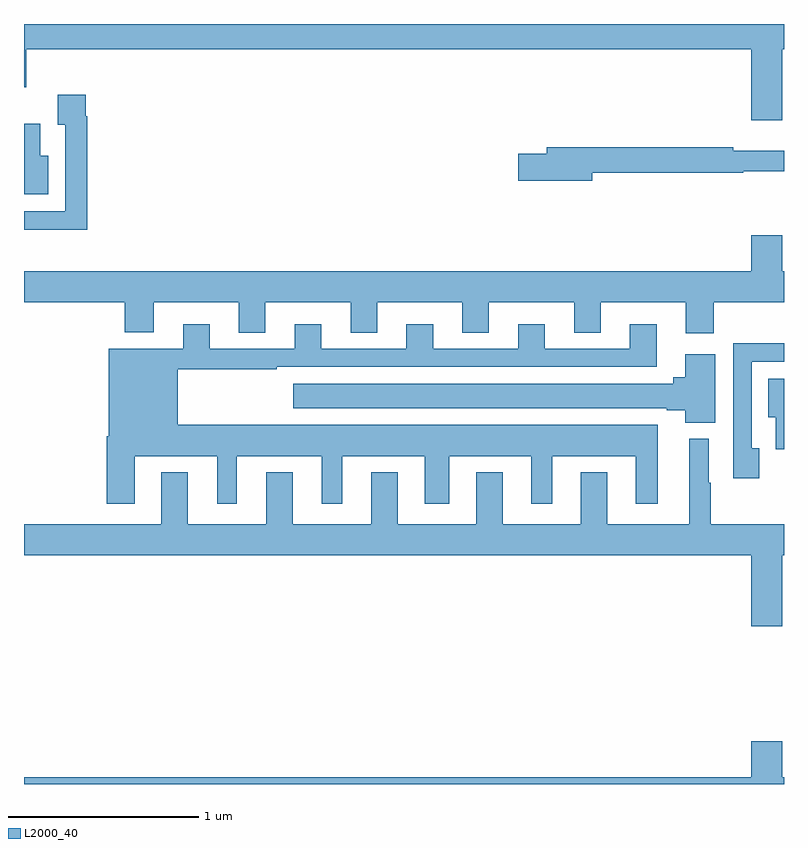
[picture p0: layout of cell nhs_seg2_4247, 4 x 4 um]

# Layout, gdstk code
import gdstk
lib = gdstk.Library(unit=1e-6, precision=1e-09)
def P(c, l, *ps):  # polygons
    for p in ps: c.add(gdstk.Polygon(p, *l))
L2000_40 = (2000, 40)

nhs_seg2_4247 = lib.new_cell('nhs_seg2_4247')
P(nhs_seg2_4247, L2000_40, [(344.992,615.668),(345,615.668),(345,615.8),(341,615.8),(341,615.466),(341.012,615.466),(341.012,615.668),(344.828,615.668),(344.828,615.294),(344.992,615.294)],
  [(341.333,615.314),(341.326,615.314),(341.326,615.427),(341.177,615.427),(341.177,615.271),(341.217,615.271),(341.217,614.814),(341,614.814),(341,614.718),(341.041,614.718),(341.041,614.717),(341.333,614.717)],
  [(341.128,615.106),(341.086,615.106),(341.086,615.274),(341,615.274),(341,614.903),(341.128,614.903)],
  [(343.99,615.016),(344.786,615.016),(344.786,615.024),(345,615.024),(345,615.133),(344.732,615.133),(344.732,615.152),(343.751,615.152),(343.751,615.116),(343.602,615.116),(343.602,614.974),(343.99,614.974)],
  [(344.631,614.336),(345,614.336),(345,614.5),(344.992,614.5),(344.992,614.689),(344.828,614.689),(344.828,614.5),(341,614.5),(341,614.336),(341.531,614.336),(341.531,614.177),(341.683,614.177),(341.683,614.336),(342.131,614.336),(342.131,614.176),(342.271,614.176),(342.271,614.336),(342.719,614.336),(342.719,614.176),(342.859,614.176),(342.859,614.336),(343.307,614.336),(343.307,614.176),(343.447,614.176),(343.447,614.336),(343.895,614.336),(343.895,614.176),(344.035,614.176),(344.035,614.336),(344.483,614.336),(344.483,614.172),(344.631,614.172)],
  [(341.584,613.526),(342.017,613.526),(342.017,613.275),(342.121,613.275),(342.121,613.526),(342.566,613.526),(342.566,613.275),(342.676,613.275),(342.676,613.526),(343.109,613.526),(343.109,613.275),(343.237,613.275),(343.237,613.526),(343.67,613.526),(343.67,613.275),(343.78,613.275),(343.78,613.526),(344.219,613.526),(344.219,613.275),(344.335,613.275),(344.335,613.69),(341.809,613.69),(341.809,613.983),(342.329,613.983),(342.329,613.995),(344.329,613.995),(344.329,614.221),(344.189,614.221),(344.189,614.091),(343.741,614.091),(343.741,614.221),(343.601,614.221),(343.601,614.091),(343.153,614.091),(343.153,614.221),(343.013,614.221),(343.013,614.091),(342.565,614.091),(342.565,614.221),(342.425,614.221),(342.425,614.091),(341.977,614.091),(341.977,614.221),(341.837,614.221),(341.837,614.092),(341.447,614.092),(341.447,613.63),(341.435,613.63),(341.435,613.275),(341.584,613.275)],
  [(344.869,613.566),(344.829,613.566),(344.829,614.022),(345,614.022),(345,614.12),(344.733,614.12),(344.733,613.41),(344.869,613.41)],
  [(344.638,614.062),(344.48,614.062),(344.48,613.942),(344.417,613.942),(344.417,613.906),(342.417,613.906),(342.417,613.778),(344.384,613.778),(344.384,613.766),(344.48,613.766),(344.48,613.702),(344.638,613.702)],
  [(345,613.933),(344.918,613.933),(344.918,613.73),(344.957,613.73),(344.957,613.562),(345,613.562)],
  [(344.992,613.004),(345,613.004),(345,613.168),(344.615,613.168),(344.615,613.385),(344.605,613.385),(344.605,613.617),(344.501,613.617),(344.501,613.168),(344.071,613.168),(344.071,613.441),(343.931,613.441),(343.931,613.168),(343.519,613.168),(343.519,613.441),(343.379,613.441),(343.379,613.168),(342.967,613.168),(342.967,613.441),(342.827,613.441),(342.827,613.168),(342.415,613.168),(342.415,613.441),(342.275,613.441),(342.275,613.168),(341.863,613.168),(341.863,613.441),(341.723,613.441),(341.723,613.168),(341,613.168),(341,613.004),(344.828,613.004),(344.828,612.63),(344.992,612.63)],
  [(345,611.836),(344.992,611.836),(344.992,612.025),(344.828,612.025),(344.828,611.836),(341,611.836),(341,611.8),(345,611.8)])

lib.write_gds('nhs_seg2_4247.gds')
